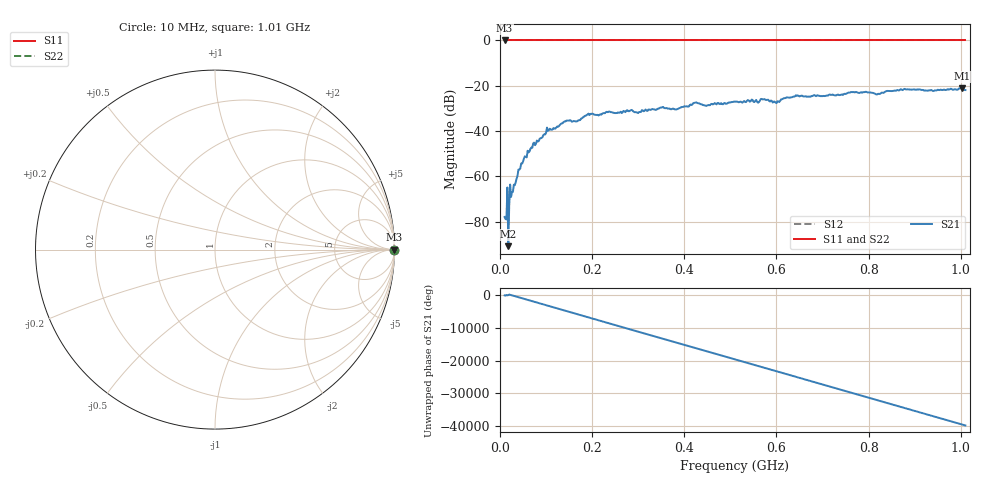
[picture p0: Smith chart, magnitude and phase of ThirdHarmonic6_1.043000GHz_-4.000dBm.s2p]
! 8/16/2025 9:05:14 AM
! C:\ANRITSUVNA\TEMP\TEMP.S2P
! CHANNEL.1
! TR.MEASUREMENT
! RAW.DATA
! RF.CORRECTION.OFF
! AVERAGING.OFF
! IF.BANDWIDTH: 5KHZ
! SWEEPTYPE:  FREQ.SWEEP(Linear)
! Reference Plane Port Info
! PORT:  PORT1  PORT2
! DISTANCE:  0  m  0  m
! TIME:  0  s  0  s
! PHASE.OFFSET:  0  deg.  0  deg.
! LOSS:  0  dB  0  dB
! REF.LOSS:  0  dB  0  dB
! REF.FREQ:  0  Hz  0  Hz
! Power Info
! POWER:  -20  dBm  -20  dBm
! EFF.POWER:  -20  dBm  -20  dBm
! SOURCE.ATTEN:  0  dB  0  dB
! TEST.ATTEN:  0  dB  0  dB
# GHZ S RI R 50.0
! FREQ.GHZ  S11RE  S11IM  S21RE  S21IM  S12RE  S12IM  S22RE  S22IM
!; PortSelection: Port_12
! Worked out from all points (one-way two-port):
!   501 points, 10 MHz to 1.01 GHz, reference 50 ohm
!   highest |S21| = -21.07 dB at 1.002 GHz (marker M1); lowest = -90.9 dB at 18 MHz (marker M2)
!   lowest |S11| = 0.0 dB at 10 MHz (marker M3)
!   |S11| at or under -10 dB: nowhere
!   |S22| runs from 0.0 to 0.0 dB; largest |S21 - S12| = 1.1
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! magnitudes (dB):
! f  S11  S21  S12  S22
! 10 MHz  0.0  -78.0  0.0  0.0
! 12 MHz  0.0  -78.9  0.0  0.0
! 16 MHz  0.0  -64.9  0.0  0.0
! 18 MHz  0.0  -90.9  0.0  0.0
! 44 MHz  0.0  -56.5  0.0  0.0
! 70 MHz  0.0  -47.5  0.0  0.0
! 106 MHz  0.0  -39.6  0.0  0.0
! 142 MHz  0.0  -35.8  0.0  0.0
! 178 MHz  0.0  -34.4  0.0  0.0
! 196 MHz  0.0  -32.4  0.0  0.0
! 344 MHz  0.0  -30.2  0.0  0.0
! 384 MHz  0.0  -30.4  0.0  0.0
! 424 MHz  0.0  -27.4  0.0  0.0
! 448 MHz  0.0  -28.9  0.0  0.0
! 510 MHz  0.0  -27.1  0.0  0.0
! 570 MHz  0.0  -26.0  0.0  0.0
! 602 MHz  0.0  -26.8  0.0  0.0
! 642 MHz  0.0  -24.3  0.0  0.0
! 678 MHz  0.0  -24.6  0.0  0.0
! 844 MHz  0.0  -22.3  0.0  0.0
! 1.002 GHz  0.0  -21.1  0.0  0.0
! 1.01 GHz  0.0  -21.9  0.0  0.0
